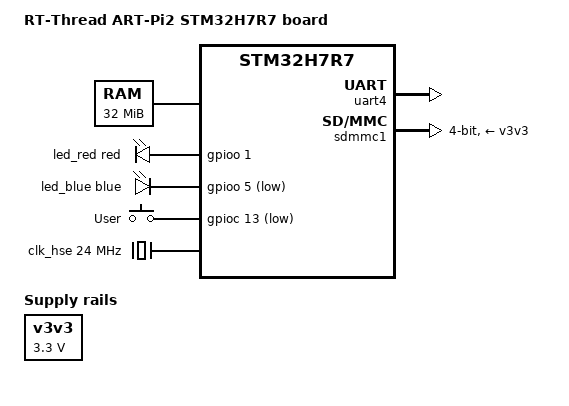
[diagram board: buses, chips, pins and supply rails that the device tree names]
// SPDX-License-Identifier: (GPL-2.0-only OR BSD-2-Clause)

/dts-v1/;

#include "stm32h7r7.dtsi"
#include "stm32h7rs-pinctrl.dtsi"
#include <dt-bindings/gpio/gpio.h>
#include <dt-bindings/input/input.h>
#include <dt-bindings/leds/common.h>

/ {
	model = "RT-Thread ART-Pi2 STM32H7R7 board";
	compatible = "ruiside,art-pi2", "st,stm32h7r7";

	chosen {
		bootargs = "earlycon console=ttySTM0,115200";
		stdout-path = "serial0:115200n8";
	};

	memory@90000000 {
		device_type = "memory";
		reg = <0x90000000 0x02000000>;
	};

	reserved-memory {
		#address-cells = <1>;
		#size-cells = <1>;
		ranges;

		dma_pool: dma-pool {
			compatible = "shared-dma-pool";
			no-map;
			size = <0x00200000>;
			linux,dma-default;
		};
	};

	aliases {
		mmc0 = &sdmmc1;
		serial0 = &uart4;
	};

	v3v3: regulator-v3v3 {
		compatible = "regulator-fixed";
		regulator-name = "v3v3";
		regulator-min-microvolt = <3300000>;
		regulator-max-microvolt = <3300000>;
		regulator-always-on;
	};

	leds {
		compatible = "gpio-leds";

		led_red: led-red {
			color = <LED_COLOR_ID_RED>;
			function = LED_FUNCTION_INDICATOR;
			gpios = <&gpioo 1 GPIO_ACTIVE_HIGH>;
		};

		led_blue: led-blue {
			color = <LED_COLOR_ID_BLUE>;
			function = LED_FUNCTION_HEARTBEAT;
			gpios = <&gpioo 5 GPIO_ACTIVE_LOW>;
			linux,default-trigger = "heartbeat";
		};
	};

	gpio-keys {
		compatible = "gpio-keys";

		button-user {
			label = "User";
			linux,code = <KEY_WAKEUP>;
			gpios = <&gpioc 13 GPIO_ACTIVE_LOW>;
		};
	};
};

&uart4 {
	pinctrl-0 = <&uart4_pins_a>;
	pinctrl-names = "default";
	status = "okay";
};

&sdmmc1 {
	pinctrl-names = "default", "opendrain", "sleep";
	pinctrl-0 = <&sdmmc1_b4_pins_a>;
	pinctrl-1 = <&sdmmc1_b4_od_pins_a>;
	pinctrl-2 = <&sdmmc1_b4_sleep_pins_a>;
	broken-cd;
	st,neg-edge;
	bus-width = <4>;
	vmmc-supply = <&v3v3>;
	max-frequency = <50000000>;
	status = "okay";
};

&clk_hse {
	clock-frequency = <24000000>;
};
